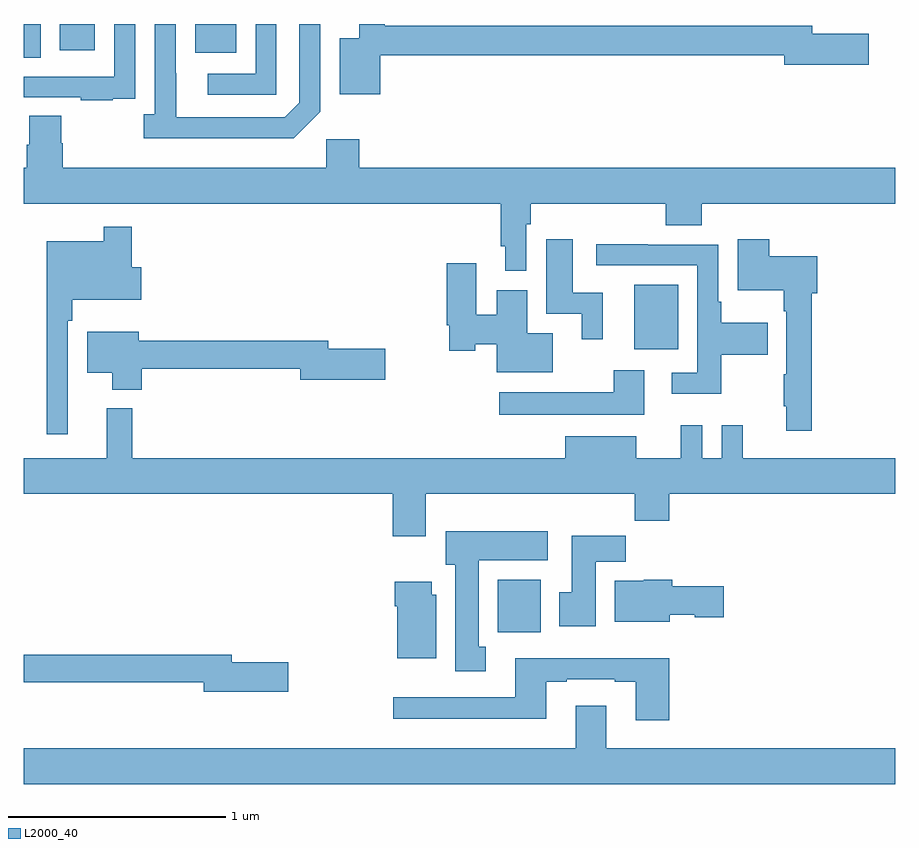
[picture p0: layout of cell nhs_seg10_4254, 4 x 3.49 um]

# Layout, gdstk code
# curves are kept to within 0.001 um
import gdstk
lib = gdstk.Library(unit=1e-6, precision=1e-09)
def R(c, l, rs):  # rectangles x0, y0, x1, y1
    for r in rs: c.add(gdstk.rectangle(r[:2], r[2:], *l))
def P(c, l, *ps):  # polygons
    for p in ps: c.add(gdstk.Polygon(p, *l))
L2000_40 = (2000, 40)

nhs_seg10_4254 = lib.new_cell('nhs_seg10_4254')
R(nhs_seg10_4254, L2000_40, [(351.176,1271.708,351.373,1271.95), (351.803,1273.007,352.003,1273.303), (349,1274.344,349.078,1274.5), (349.787,1274.369,349.975,1274.5), (349.166,1274.379,349.327,1274.5)])
P(nhs_seg10_4254, L2000_40, [(350.637,1274.356),(352.49,1274.356),(352.49,1274.314),(352.879,1274.314),(352.879,1274.456),(352.618,1274.456),(352.618,1274.492),(350.657,1274.492),(350.657,1274.5),(350.54,1274.5),(350.54,1274.434),(350.45,1274.434),(350.45,1274.177),(350.637,1274.177)],
  [(350.16,1274.5),(350.064,1274.5),(350.064,1274.271),(349.845,1274.271),(349.845,1274.175),(350.16,1274.175)],
  [(349.409,1274.157),(349.511,1274.157),(349.511,1274.266),(349.512,1274.266),(349.512,1274.5),(349.416,1274.5),(349.416,1274.259),(349,1274.259),(349,1274.163),(349.261,1274.163),(349.261,1274.151),(349.409,1274.151)],
  [(350.361,1274.097),(350.361,1274.5),(350.265,1274.5),(350.265,1274.139),(350.199,1274.073),(349.699,1274.073),(349.698,1274.5),(349.602,1274.5),(349.602,1274.086),(349.551,1274.086),(349.551,1273.976),(350.24,1273.976)],
  [(351.306,1273.58),(351.326,1273.58),(351.326,1273.676),(351.947,1273.676),(351.947,1273.577),(352.112,1273.577),(352.112,1273.676),(353,1273.676),(353,1273.84),(350.54,1273.84),(350.54,1273.972),(350.388,1273.972),(350.388,1273.84),(349.178,1273.84),(349.178,1273.953),(349.173,1273.953),(349.173,1274.078),(349.025,1274.078),(349.025,1273.946),(349.013,1273.946),(349.013,1273.84),(349,1273.84),(349,1273.676),(351.19,1273.676),(351.19,1273.48),(351.209,1273.48),(351.209,1273.368),(351.306,1273.368)],
  [(349.203,1273.139),(349.223,1273.139),(349.223,1273.235),(349.54,1273.235),(349.54,1273.383),(349.496,1273.383),(349.496,1273.57),(349.368,1273.57),(349.368,1273.504),(349.106,1273.504),(349.106,1272.618),(349.203,1272.618)],
  [(351.658,1273.266),(351.52,1273.266),(351.52,1273.513),(351.398,1273.513),(351.398,1273.17),(351.56,1273.17),(351.56,1273.053),(351.658,1273.053)],
  [(352.616,1273.265),(352.643,1273.265),(352.643,1273.435),(352.421,1273.435),(352.421,1273.513),(352.277,1273.513),(352.277,1273.277),(352.488,1273.277),(352.488,1273.181),(352.5,1273.181),(352.5,1272.893),(352.488,1272.893),(352.488,1272.745),(352.499,1272.745),(352.499,1272.633),(352.616,1272.633)],
  [(352.201,1272.982),(352.415,1272.982),(352.415,1273.129),(352.201,1273.129),(352.201,1273.225),(352.188,1273.225),(352.188,1273.488),(351.863,1273.488),(351.863,1273.49),(351.627,1273.49),(351.627,1273.392),(352.092,1273.392),(352.092,1272.9),(351.975,1272.9),(351.975,1272.803),(352.201,1272.803)],
  [(351.427,1273.081),(351.31,1273.081),(351.31,1273.279),(351.17,1273.279),(351.17,1273.166),(351.076,1273.166),(351.076,1273.402),(350.942,1273.402),(350.942,1273.117),(350.954,1273.117),(350.954,1273.001),(351.072,1273.001),(351.072,1273.031),(351.17,1273.031),(351.17,1272.902),(351.427,1272.902)],
  [(349.541,1272.918),(350.27,1272.918),(350.27,1272.868),(350.659,1272.868),(350.659,1273.01),(350.398,1273.01),(350.398,1273.046),(349.528,1273.046),(349.528,1273.087),(349.292,1273.087),(349.292,1272.899),(349.406,1272.899),(349.406,1272.821),(349.541,1272.821)],
  [(351.847,1272.91),(351.707,1272.91),(351.707,1272.811),(351.183,1272.811),(351.183,1272.707),(351.847,1272.707)],
  [(350.845,1272.344),(351.805,1272.344),(351.805,1272.22),(351.962,1272.22),(351.962,1272.344),(353,1272.344),(353,1272.508),(352.301,1272.508),(352.301,1272.658),(352.203,1272.658),(352.203,1272.508),(352.113,1272.508),(352.113,1272.658),(352.016,1272.658),(352.016,1272.508),(351.811,1272.508),(351.811,1272.607),(351.485,1272.607),(351.485,1272.508),(349.499,1272.508),(349.499,1272.736),(349.382,1272.736),(349.382,1272.508),(349,1272.508),(349,1272.344),(350.693,1272.344),(350.693,1272.15),(350.845,1272.15)],
  [(351.121,1271.642),(351.088,1271.642),(351.088,1272.038),(351.406,1272.038),(351.406,1272.172),(350.936,1272.172),(350.936,1272.018),(350.981,1272.018),(350.981,1271.529),(351.121,1271.529)],
  [(351.625,1272.032),(351.764,1272.032),(351.764,1272.151),(351.515,1272.151),(351.515,1271.892),(351.458,1271.892),(351.458,1271.736),(351.625,1271.736)],
  [(351.964,1271.789),(352.08,1271.789),(352.08,1271.777),(352.213,1271.777),(352.213,1271.919),(351.977,1271.919),(351.977,1271.95),(351.846,1271.95),(351.846,1271.944),(351.713,1271.944),(351.713,1271.756),(351.964,1271.756)],
  [(350.893,1271.88),(350.872,1271.88),(350.872,1271.941),(350.702,1271.941),(350.702,1271.828),(350.714,1271.828),(350.714,1271.588),(350.893,1271.588)],
  [(350.215,1271.57),(349.954,1271.57),(349.954,1271.606),(349,1271.606),(349,1271.478),(349.826,1271.478),(349.826,1271.435),(350.215,1271.435)],
  [(351.962,1271.59),(351.257,1271.59),(351.257,1271.409),(350.697,1271.409),(350.697,1271.312),(351.397,1271.312),(351.397,1271.481),(351.493,1271.481),(351.493,1271.493),(351.713,1271.493),(351.713,1271.481),(351.809,1271.481),(351.809,1271.304),(351.962,1271.304)],
  [(353,1271.176),(351.673,1271.176),(351.673,1271.371),(351.533,1271.371),(351.533,1271.176),(349,1271.176),(349,1271.012),(353,1271.012)])

lib.write_gds('nhs_seg10_4254.gds')
